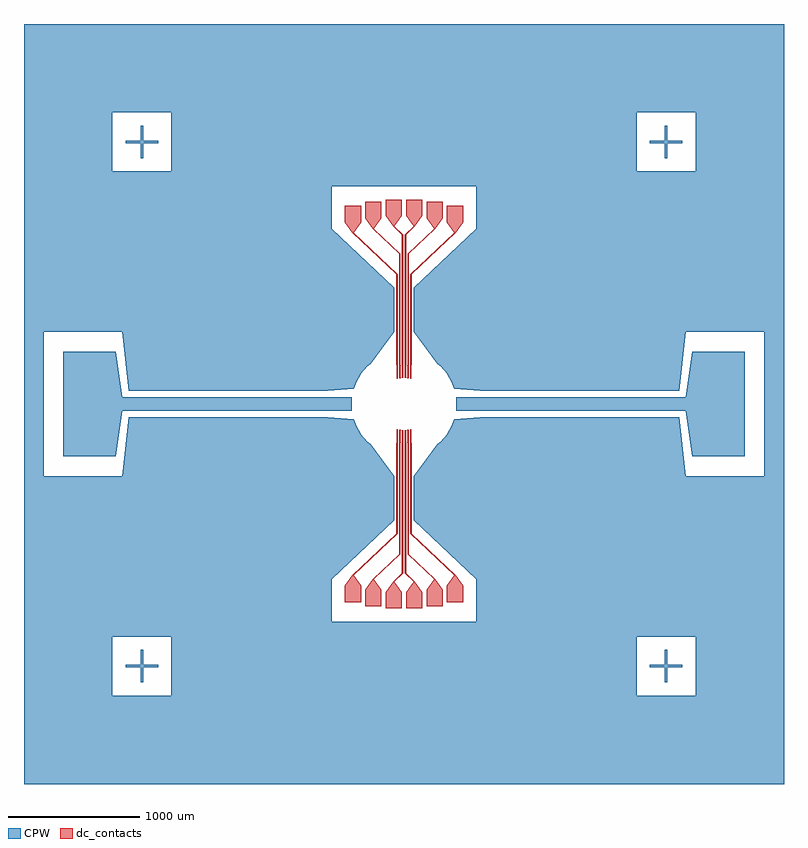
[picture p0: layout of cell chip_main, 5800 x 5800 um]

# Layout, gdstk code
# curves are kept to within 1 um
import gdstk
lib = gdstk.Library(unit=1e-6, precision=1e-08)
def R(c, l, rs):  # rectangles x0, y0, x1, y1
    for r in rs: c.add(gdstk.rectangle(r[:2], r[2:], *l))
def P(c, l, *ps):  # polygons
    for p in ps: c.add(gdstk.Polygon(p, *l))
CPW = (1, 0)
dc_contacts = (3, 0)

chip_main = lib.new_cell('chip_main')
R(chip_main, CPW, [(990,875,1010,1125), (4990,875,5010,1125), (875,990,1125,1010), (4875,990,5125,1010), (400,2600,800,3400), (5200,2600,5600,3400), (850,2950,2600,3050), (3400,2950,5150,3050), (990,4875,1010,5125), (4990,4875,5010,5125), (875,4990,1125,5010), (4875,4990,5125,5010)])
P(chip_main, CPW, [(800,2600),(800,3400),(850,3050),(850,2950)],
  [(5200,2600),(5150,2950),(5150,3050),(5200,3400)],
  [(2925,2607.09),(2924.76,2607.2),(2925,2607.16)],
  [(3075,2607.09),(3075,2607.16),(3075.24,2607.2)],
  [(2924.76,3392.8),(2925,3392.91),(2925,3392.84)],
  [(3075.24,3392.8),(3075,3392.84),(3075,3392.91)],
  [(100,100),(100,1225),(775,1225),(775,775),(1225,775),(1225,1225),(4775,1225),(4775,775),(5225,775),(5225,1225),(100,1225),(100,4662.5),(2450,4662.5),(2450,4337.5),(2925,3887.5),(2925,3550),(2745.86,3308.87),(2703.62,3268.62),(2678.72,3238.28),(2647.23,3188.56),(2630.45,3153.07),(2617.65,3117.41),(2417.65,3100),(900,3100),(850,3550),(250,3550),(250,2450),(850,2450),(900,2900),(2417.65,2900),(2617.65,2882.59),(2630.45,2846.93),(2647.23,2811.44),(2678.72,2761.72),(2703.62,2731.38),(2745.86,2691.13),(2925,2450),(2925,2112.5),(2450,1662.5),(2450,1337.5),(3550,1337.5),(3550,1662.5),(3075,2112.5),(3075,2450),(3254.14,2691.13),(3296.38,2731.38),(3321.28,2761.72),(3352.77,2811.44),(3369.55,2846.93),(3382.35,2882.59),(3582.35,2900),(5100,2900),(5150,2450),(5750,2450),(5750,3550),(5150,3550),(5100,3100),(3582.35,3100),(3382.35,3117.41),(3369.55,3153.07),(3352.77,3188.56),(3321.28,3238.28),(3296.38,3268.62),(3254.14,3308.87),(3075,3550),(3075,3887.5),(3550,4337.5),(3550,4662.5),(100,4662.5),(100,5225),(775,5225),(775,4775),(1225,4775),(1225,5225),(4775,5225),(4775,4775),(5225,4775),(5225,5225),(100,5225),(100,5900),(5900,5900),(5900,100)])
R(chip_main, dc_contacts, [(2859,1439.56,2984,1564.56), (3016,1439.56,3141,1564.56), (2702.85,1455.97,2827.85,1580.97), (3172.15,1455.97,3297.15,1580.97), (2549.27,1488.61,2674.27,1613.61), (3325.73,1488.61,3450.73,1613.61), (2984.29,1708.78,2994.29,2600), (3005.71,1708.78,3015.71,2600), (2962.86,1852.82,2972.86,2600), (3027.14,1852.82,3037.14,2600), (2941.43,2010.65,2951.43,2600), (3048.57,2010.65,3058.57,2600), (2941.43,3400,2951.43,3989.35), (2962.86,3400,2972.86,4147.18), (2984.29,3400,2994.29,4291.22), (3005.71,3400,3015.71,4291.22), (3027.14,3400,3037.14,4147.18), (3048.57,3400,3058.57,3989.35), (2549.27,4386.39,2674.27,4511.39), (3325.73,4386.39,3450.73,4511.39), (2702.85,4419.03,2827.85,4544.03), (3172.15,4419.03,3297.15,4544.03), (2859,4435.44,2984,4560.44), (3016,4435.44,3141,4560.44)])
P(chip_main, dc_contacts, [(3383.23,4306.39),(3325.73,4386.39),(3450.73,4386.39),(3393.23,4306.39)],
  [(3048.57,3989.35),(3383.23,4306.39),(3393.23,4306.39),(3058.57,3989.35)],
  [(3046.76,3193.19),(3048.57,3400),(3058.57,3400),(3056.76,3193.19)],
  [(3229.65,4339.03),(3172.15,4419.03),(3297.15,4419.03),(3239.65,4339.03)],
  [(3027.14,4147.18),(3229.65,4339.03),(3239.65,4339.03),(3037.14,4147.18)],
  [(3026.29,3197.54),(3027.14,3400),(3037.14,3400),(3036.29,3197.54)],
  [(3073.5,4355.44),(3016,4435.44),(3141,4435.44),(3083.5,4355.44)],
  [(3005.71,4291.22),(3073.5,4355.44),(3083.5,4355.44),(3015.71,4291.22)],
  [(3005.47,3199.73),(3005.71,3400),(3015.71,3400),(3015.47,3199.73)],
  [(2916.5,4355.44),(2859,4435.44),(2984,4435.44),(2926.5,4355.44)],
  [(2984.29,4291.22),(2916.5,4355.44),(2926.5,4355.44),(2994.29,4291.22)],
  [(2984.53,3199.73),(2984.29,3400),(2994.29,3400),(2994.53,3199.73)],
  [(2760.35,4339.03),(2702.85,4419.03),(2827.85,4419.03),(2770.35,4339.03)],
  [(2962.86,4147.18),(2760.35,4339.03),(2770.35,4339.03),(2972.86,4147.18)],
  [(2963.71,3197.54),(2962.86,3400),(2972.86,3400),(2973.71,3197.54)],
  [(2606.77,4306.39),(2549.27,4386.39),(2674.27,4386.39),(2616.77,4306.39)],
  [(2941.43,3989.35),(2606.77,4306.39),(2616.77,4306.39),(2951.43,3989.35)],
  [(2943.24,3193.19),(2941.43,3400),(2951.43,3400),(2953.24,3193.19)],
  [(2549.27,1613.61),(2606.77,1693.61),(2616.77,1693.61),(2674.27,1613.61)],
  [(2606.77,1693.61),(2941.43,2010.65),(2951.43,2010.65),(2616.77,1693.61)],
  [(2941.43,2600),(2943.24,2806.81),(2953.24,2806.81),(2951.43,2600)],
  [(2702.85,1580.97),(2760.35,1660.97),(2770.35,1660.97),(2827.85,1580.97)],
  [(2760.35,1660.97),(2962.86,1852.82),(2972.86,1852.82),(2770.35,1660.97)],
  [(2962.86,2600),(2963.71,2802.46),(2973.71,2802.46),(2972.86,2600)],
  [(2859,1564.56),(2916.5,1644.56),(2926.5,1644.56),(2984,1564.56)],
  [(2916.5,1644.56),(2984.29,1708.78),(2994.29,1708.78),(2926.5,1644.56)],
  [(2984.29,2600),(2984.53,2800.27),(2994.53,2800.27),(2994.29,2600)],
  [(3016,1564.56),(3073.5,1644.56),(3083.5,1644.56),(3141,1564.56)],
  [(3073.5,1644.56),(3005.71,1708.78),(3015.71,1708.78),(3083.5,1644.56)],
  [(3005.71,2600),(3005.47,2800.27),(3015.47,2800.27),(3015.71,2600)],
  [(3172.15,1580.97),(3229.65,1660.97),(3239.65,1660.97),(3297.15,1580.97)],
  [(3229.65,1660.97),(3027.14,1852.82),(3037.14,1852.82),(3239.65,1660.97)],
  [(3027.14,2600),(3026.29,2802.46),(3036.29,2802.46),(3037.14,2600)],
  [(3325.73,1613.61),(3383.23,1693.61),(3393.23,1693.61),(3450.73,1613.61)],
  [(3383.23,1693.61),(3048.57,2010.65),(3058.57,2010.65),(3393.23,1693.61)],
  [(3048.57,2600),(3046.76,2806.81),(3056.76,2806.81),(3058.57,2600)])

lib.write_gds('chip_main.gds')
